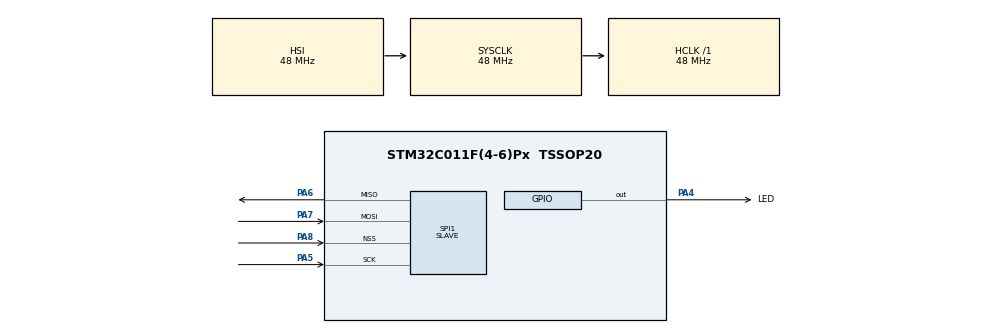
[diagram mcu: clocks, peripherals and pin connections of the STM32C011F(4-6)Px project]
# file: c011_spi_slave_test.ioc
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Mcu.Family=STM32C0
Mcu.Name=STM32C011F(4-6)Px
Mcu.Package=TSSOP20
NVIC.SPI1_IRQn=true\:0\:0\:false\:false\:true\:true\:true\:true
PA13.Mode=Serial_Wire
PA13.Signal=DEBUG_SWDIO
PA14-BOOT0.Mode=Serial_Wire
PA14-BOOT0.Signal=DEBUG_SWCLK
PA4.GPIO_Label=LED
PA4.Signal=GPIO_Output
PA5.Mode=Full_Duplex_Slave
PA5.Signal=SPI1_SCK
PA6.Mode=Full_Duplex_Slave
PA6.Signal=SPI1_MISO
PA7.Mode=Full_Duplex_Slave
PA7.Signal=SPI1_MOSI
PA8.Mode=NSS_Signal_Hard_Input
PA8.Signal=SPI1_NSS
PC14-OSCX_IN\ (PC14).Mode=HSE-External-Oscillator-REMAPPED
PC14-OSCX_IN\ (PC14).Signal=RCC_OSCX_IN
PC15-OSCX_OUT\ (PC15).Mode=HSE-External-Oscillator-REMAPPED
PC15-OSCX_OUT\ (PC15).Signal=RCC_OSCX_OUT
ProjectManager.HeapSize=0x200
ProjectManager.StackSize=0x400
ProjectManager.TargetToolchain=STM32CubeIDE
RCC.ADCFreq_Value=48000000
RCC.AHBFreq_Value=48000000
RCC.CortexFreq_Value=48000000
RCC.EXTERNAL_CLOCK_VALUE=12288000
RCC.HCLKFreq_Value=48000000
RCC.HSE_VALUE=8000000
RCC.HSISYSCLKDivider=RCC_HSI_DIV1
RCC.HSI_VALUE=48000000
RCC.LSE_VALUE=32768
RCC.SYSCLKFreq_VALUE=48000000
SPI1.Direction=SPI_DIRECTION_2LINES
SPI1.Mode=SPI_MODE_SLAVE
SPI1.VirtualNSS=VM_NSSHARD
SPI1.VirtualType=VM_SLAVE
board=custom

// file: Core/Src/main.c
/* USER CODE BEGIN Header */
/**
 ******************************************************************************
 * @file           : main.c
 * @brief          : Main program body
 ******************************************************************************
 * @attention
 *
 * Copyright (c) 2024 STMicroelectronics.
 * All rights reserved.
 *
 * This software is licensed under terms that can be found in the LICENSE file
 * in the root directory of this software component.
 * If no LICENSE file comes with this software, it is provided AS-IS.
 *
 ******************************************************************************
 */
/* USER CODE END Header */
#include "main.h"

/* USER CODE BEGIN Includes */
#include "string.h"
#include "stdio.h"
/* USER CODE END Includes */

/* USER CODE BEGIN PTD */
uint32_t rxBuffer[10];
volatile uint8_t dataReceived = 0;
volatile uint8_t sendDataFlag = 0;

volatile uint8_t spiTxBuf[64];

#define FLASH_USER_START_ADDR   0x08007800   /* Start @ of user Flash area */
#define FLASH_USER_END_ADDR     0x08007FFF   /* End @ of user Flash area */

/* USER CODE END PTD */

SPI_HandleTypeDef hspi1;

void SystemClock_Config(void);
static void MX_GPIO_Init(void);
static void MX_SPI1_Init(void);
/* USER CODE BEGIN PFP */
uint32_t Flash_Write_Data(uint32_t StartPageAddress, uint64_t *Data, uint16_t numberofword);
void Erase_Flash(uint32_t address);
void Flash_Read_Data(uint32_t StartPageAddress, uint64_t *RxBuf, uint16_t numberofwords);
uint8_t Verify_Flash_Data(uint32_t StartPageAddress, uint64_t *Data, uint16_t numberofword);

/* USER CODE END PFP */

/* USER CODE BEGIN 0 */

void HAL_SPI_RxCpltCallback(SPI_HandleTypeDef *hspi)
{
    if (hspi->Instance == SPI1)
    {
        dataReceived = 1;  // Data has been received
        HAL_SPI_Receive_IT(&hspi1, (uint8_t*)rxBuffer, sizeof(rxBuffer));
    }
}

void HAL_SPI_TxCpltCallback(SPI_HandleTypeDef *hspi)
{
    if (hspi->Instance == SPI1)
    {
        sendDataFlag = 0;  // Data has been sent
    }
}
uint32_t Flash_Write_Data(uint32_t StartPageAddress, uint64_t *Data, uint16_t numberofword)
{
	HAL_FLASH_Unlock();

	// Erase the required flash page
	// Erase_Flash(StartPageAddress);

	// Program flash with the data
	for (uint32_t i = 0; i < numberofword; i++)
	{
		//if (HAL_FLASH_Program(FLASH_TYPEPROGRAM_DOUBLEWORD, StartPageAddress + i * 8, Data[i]) != HAL_OK)
		if (HAL_FLASH_Program(FLASH_TYPEPROGRAM_DOUBLEWORD, StartPageAddress + i * 8, Data[i]) != HAL_OK)
		{// Handle the error if programming fails
			HAL_FLASH_Lock();
			return 1;
		}
	}

	HAL_FLASH_Lock();
	// Verify the written data
    if (Verify_Flash_Data(StartPageAddress, Data, numberofword))
    {
        return 0; // Success
    }
    return 1; // Verification failed
}

uint8_t Verify_Flash_Data(uint32_t StartPageAddress, uint64_t *Data, uint16_t numberofword)
{
    for (uint32_t i = 0; i < numberofword; i++)
    {
        if (*(__IO uint64_t *)(StartPageAddress + i * 8) != Data[i])
        {
            return 0; // Verification failed
        }
    }
    return 1; // Verification success
}
void Erase_Flash(uint32_t address)
{
	HAL_FLASH_Unlock();

	FLASH_EraseInitTypeDef eraseInitStruct;
	uint32_t pageError;

	eraseInitStruct.TypeErase = FLASH_TYPEERASE_PAGES;
	eraseInitStruct.Page = (address - FLASH_BASE) / FLASH_PAGE_SIZE;
	eraseInitStruct.NbPages = 1; // Erase one page

	if (HAL_FLASHEx_Erase(&eraseInitStruct, &pageError) != HAL_OK)
	{
		// Handle the error if erase fails
		Error_Handler();
	}

	HAL_FLASH_Lock();
}

void Flash_Read_Data(uint32_t StartPageAddress, uint64_t *RxBuf, uint16_t numberofwords)
{
	for (uint32_t i = 0; i < numberofwords; i++)
	{
		RxBuf[i] = *(__IO uint64_t *)(StartPageAddress + i * 8); // 8 bytes per word
	}
}

/* USER CODE END 0 */

int main(void)
{

	/* MCU Configuration--------------------------------------------------------*/

	/* Reset of all peripherals, Initializes the Flash interface and the Systick. */
	HAL_Init();

	/* Configure the system clock */
	SystemClock_Config();

	/* Initialize all configured peripherals */
	MX_GPIO_Init();
	MX_SPI1_Init();
	/* USER CODE BEGIN 2 */
	HAL_SPI_Receive_IT(&hspi1, (uint8_t*)rxBuffer, sizeof(rxBuffer));
	//Erase_Flash(FLASH_USER_START_ADDR);
	/* USER CODE END 2 */

	/* Infinite loop */
	while (1)
	{
		if (dataReceived)
		{
			Flash_Write_Data(FLASH_USER_START_ADDR, (uint64_t*)rxBuffer, 64); // Adjust number of words if needed
			dataReceived = 0;  // Reset flag

			// Prepare data to send back
			Flash_Read_Data(FLASH_USER_START_ADDR, (uint64_t*)spiTxBuf, 64); // Adjust number of words if needed
			sendDataFlag = 1; // Set flag to send data back
		}

		if (sendDataFlag)
		{
			HAL_SPI_Transmit_IT(&hspi1, (uint8_t*)spiTxBuf, sizeof(spiTxBuf));
			sendDataFlag = 0;  // Reset flag
		}
	}
}

void SystemClock_Config(void)
{
	RCC_OscInitTypeDef RCC_OscInitStruct = {0};
	RCC_ClkInitTypeDef RCC_ClkInitStruct = {0};

	/** Initializes the RCC Oscillators according to the specified parameters
	 * in the RCC_OscInitTypeDef structure.
	 */
	RCC_OscInitStruct.OscillatorType = RCC_OSCILLATORTYPE_HSI;
	RCC_OscInitStruct.HSIState = RCC_HSI_ON;
	RCC_OscInitStruct.HSIDiv = RCC_HSI_DIV1;
	RCC_OscInitStruct.HSICalibrationValue = RCC_HSICALIBRATION_DEFAULT;
	if (HAL_RCC_OscConfig(&RCC_OscInitStruct) != HAL_OK)
	{
		Error_Handler();
	}

	/** Initializes the CPU, AHB and APB buses clocks
	 */
	RCC_ClkInitStruct.ClockType = RCC_CLOCKTYPE_HCLK|RCC_CLOCKTYPE_SYSCLK
			|RCC_CLOCKTYPE_PCLK1;
	RCC_ClkInitStruct.SYSCLKSource = RCC_SYSCLKSOURCE_HSI;
	RCC_ClkInitStruct.SYSCLKDivider = RCC_SYSCLK_DIV1;
	RCC_ClkInitStruct.AHBCLKDivider = RCC_HCLK_DIV1;
	RCC_ClkInitStruct.APB1CLKDivider = RCC_APB1_DIV1;

	if (HAL_RCC_ClockConfig(&RCC_ClkInitStruct, FLASH_LATENCY_1) != HAL_OK)
	{
		Error_Handler();
	}
}

static void MX_SPI1_Init(void)
{

	/* SPI1 parameter configuration*/
	hspi1.Instance = SPI1;
	hspi1.Init.Mode = SPI_MODE_SLAVE;
	hspi1.Init.Direction = SPI_DIRECTION_2LINES;
	hspi1.Init.DataSize = SPI_DATASIZE_8BIT;
	hspi1.Init.CLKPolarity = SPI_POLARITY_LOW;
	hspi1.Init.CLKPhase = SPI_PHASE_1EDGE;
	hspi1.Init.NSS = SPI_NSS_HARD_INPUT;
	hspi1.Init.FirstBit = SPI_FIRSTBIT_MSB;
	hspi1.Init.TIMode = SPI_TIMODE_DISABLE;
	hspi1.Init.CRCCalculation = SPI_CRCCALCULATION_DISABLE;
	hspi1.Init.CRCPolynomial = 7;
	hspi1.Init.CRCLength = SPI_CRC_LENGTH_DATASIZE;
	hspi1.Init.NSSPMode = SPI_NSS_PULSE_DISABLE;
	if (HAL_SPI_Init(&hspi1) != HAL_OK)
	{
		Error_Handler();
	}

}

static void MX_GPIO_Init(void)
{
	GPIO_InitTypeDef GPIO_InitStruct = {0};

	/* GPIO Ports Clock Enable */
	__HAL_RCC_GPIOC_CLK_ENABLE();
	__HAL_RCC_GPIOA_CLK_ENABLE();

	/*Configure GPIO pin Output Level */
	HAL_GPIO_WritePin(LED_GPIO_Port, LED_Pin, GPIO_PIN_RESET);

	/*Configure GPIO pin : LED_Pin */
	GPIO_InitStruct.Pin = LED_Pin;
	GPIO_InitStruct.Mode = GPIO_MODE_OUTPUT_PP;
	GPIO_InitStruct.Pull = GPIO_NOPULL;
	GPIO_InitStruct.Speed = GPIO_SPEED_FREQ_LOW;
	HAL_GPIO_Init(LED_GPIO_Port, &GPIO_InitStruct);

}

void Error_Handler(void)
{
	__disable_irq();
	while (1)
	{
	}
}
